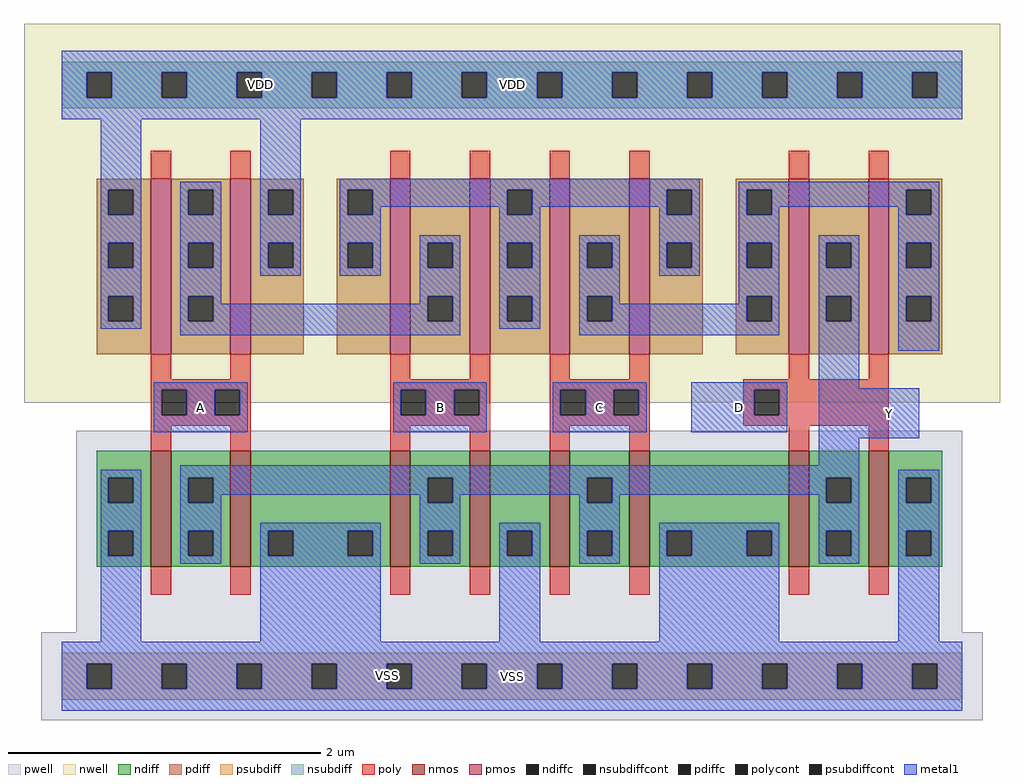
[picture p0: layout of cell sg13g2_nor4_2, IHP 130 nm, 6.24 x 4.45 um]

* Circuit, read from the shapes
.subckt sg13g2_nor4_2 Y VSS D VDD B A C
XM1 Y A VSS VSS sg13_lv_nmos w=0.74u l=0.13u m=2
XM2 Y B VSS VSS sg13_lv_nmos w=0.74u l=0.13u m=2
XM3 Y C VSS VSS sg13_lv_nmos w=0.74u l=0.13u m=2
XM4 Y D VSS VSS sg13_lv_nmos w=0.74u l=0.13u m=2
XM5 n1 A VDD VDD sg13_lv_pmos w=1.12u l=0.13u m=2
XM6 n1 B n2 VDD sg13_lv_pmos w=1.12u l=0.13u m=2
XM7 n3 C n2 VDD sg13_lv_pmos w=1.12u l=0.13u m=2
XM8 Y D n3 VDD sg13_lv_pmos w=1.12u l=0.13u m=2
.ends

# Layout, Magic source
magic
tech ihp-sg13g2
magscale 1 2
<< nwell >>
rect -48 350 1200 834
<< pwell >>
rect 19 56 1152 314
rect -26 -56 1178 56
<< nmos >>
rect 114 140 140 288
rect 216 140 242 288
rect 420 140 446 288
rect 522 140 548 288
rect 624 140 650 288
rect 726 140 752 288
rect 930 140 956 288
rect 1032 140 1058 288
<< pmos >>
rect 114 412 140 636
rect 216 412 242 636
rect 420 412 446 636
rect 522 412 548 636
rect 624 412 650 636
rect 726 412 752 636
rect 930 412 956 636
rect 1032 412 1058 636
<< ndiff >>
rect 45 254 114 288
rect 45 222 60 254
rect 92 222 114 254
rect 45 186 114 222
rect 45 154 60 186
rect 92 154 114 186
rect 45 140 114 154
rect 140 254 216 288
rect 140 222 162 254
rect 194 222 216 254
rect 140 186 216 222
rect 140 154 162 186
rect 194 154 216 186
rect 140 140 216 154
rect 242 186 420 288
rect 242 154 264 186
rect 296 154 366 186
rect 398 154 420 186
rect 242 140 420 154
rect 446 254 522 288
rect 446 222 468 254
rect 500 222 522 254
rect 446 186 522 222
rect 446 154 468 186
rect 500 154 522 186
rect 446 140 522 154
rect 548 186 624 288
rect 548 154 570 186
rect 602 154 624 186
rect 548 140 624 154
rect 650 254 726 288
rect 650 222 672 254
rect 704 222 726 254
rect 650 186 726 222
rect 650 154 672 186
rect 704 154 726 186
rect 650 140 726 154
rect 752 186 930 288
rect 752 154 774 186
rect 806 154 876 186
rect 908 154 930 186
rect 752 140 930 154
rect 956 254 1032 288
rect 956 222 978 254
rect 1010 222 1032 254
rect 956 186 1032 222
rect 956 154 978 186
rect 1010 154 1032 186
rect 956 140 1032 154
rect 1058 254 1126 288
rect 1058 222 1080 254
rect 1112 222 1126 254
rect 1058 186 1126 222
rect 1058 154 1080 186
rect 1112 154 1126 186
rect 1058 140 1126 154
<< pdiff >>
rect 45 622 114 636
rect 45 590 60 622
rect 92 590 114 622
rect 45 554 114 590
rect 45 522 60 554
rect 92 522 114 554
rect 45 486 114 522
rect 45 454 60 486
rect 92 454 114 486
rect 45 412 114 454
rect 140 622 216 636
rect 140 590 162 622
rect 194 590 216 622
rect 140 554 216 590
rect 140 522 162 554
rect 194 522 216 554
rect 140 486 216 522
rect 140 454 162 486
rect 194 454 216 486
rect 140 412 216 454
rect 242 622 310 636
rect 242 590 264 622
rect 296 590 310 622
rect 242 554 310 590
rect 242 522 264 554
rect 296 522 310 554
rect 242 412 310 522
rect 352 622 420 636
rect 352 590 366 622
rect 398 590 420 622
rect 352 554 420 590
rect 352 522 366 554
rect 398 522 420 554
rect 352 412 420 522
rect 446 554 522 636
rect 446 522 468 554
rect 500 522 522 554
rect 446 486 522 522
rect 446 454 468 486
rect 500 454 522 486
rect 446 412 522 454
rect 548 622 624 636
rect 548 590 570 622
rect 602 590 624 622
rect 548 554 624 590
rect 548 522 570 554
rect 602 522 624 554
rect 548 486 624 522
rect 548 454 570 486
rect 602 454 624 486
rect 548 412 624 454
rect 650 554 726 636
rect 650 522 672 554
rect 704 522 726 554
rect 650 486 726 522
rect 650 454 672 486
rect 704 454 726 486
rect 650 412 726 454
rect 752 622 820 636
rect 752 590 774 622
rect 806 590 820 622
rect 752 554 820 590
rect 752 522 774 554
rect 806 522 820 554
rect 752 412 820 522
rect 862 622 930 636
rect 862 590 876 622
rect 908 590 930 622
rect 862 554 930 590
rect 862 522 876 554
rect 908 522 930 554
rect 862 486 930 522
rect 862 454 876 486
rect 908 454 930 486
rect 862 412 930 454
rect 956 554 1032 636
rect 956 522 978 554
rect 1010 522 1032 554
rect 956 486 1032 522
rect 956 454 978 486
rect 1010 454 1032 486
rect 956 412 1032 454
rect 1058 622 1126 636
rect 1058 590 1080 622
rect 1112 590 1126 622
rect 1058 554 1126 590
rect 1058 522 1080 554
rect 1112 522 1126 554
rect 1058 486 1126 522
rect 1058 454 1080 486
rect 1112 454 1126 486
rect 1058 412 1126 454
<< ndiffc >>
rect 60 222 92 254
rect 60 154 92 186
rect 162 222 194 254
rect 162 154 194 186
rect 264 154 296 186
rect 366 154 398 186
rect 468 222 500 254
rect 468 154 500 186
rect 570 154 602 186
rect 672 222 704 254
rect 672 154 704 186
rect 774 154 806 186
rect 876 154 908 186
rect 978 222 1010 254
rect 978 154 1010 186
rect 1080 222 1112 254
rect 1080 154 1112 186
<< pdiffc >>
rect 60 590 92 622
rect 60 522 92 554
rect 60 454 92 486
rect 162 590 194 622
rect 162 522 194 554
rect 162 454 194 486
rect 264 590 296 622
rect 264 522 296 554
rect 366 590 398 622
rect 366 522 398 554
rect 468 522 500 554
rect 468 454 500 486
rect 570 590 602 622
rect 570 522 602 554
rect 570 454 602 486
rect 672 522 704 554
rect 672 454 704 486
rect 774 590 806 622
rect 774 522 806 554
rect 876 590 908 622
rect 876 522 908 554
rect 876 454 908 486
rect 978 522 1010 554
rect 978 454 1010 486
rect 1080 590 1112 622
rect 1080 522 1112 554
rect 1080 454 1112 486
<< psubdiff >>
rect 0 16 1152 30
rect 0 -16 32 16
rect 64 -16 128 16
rect 160 -16 224 16
rect 256 -16 320 16
rect 352 -16 416 16
rect 448 -16 512 16
rect 544 -16 608 16
rect 640 -16 704 16
rect 736 -16 800 16
rect 832 -16 896 16
rect 928 -16 992 16
rect 1024 -16 1088 16
rect 1120 -16 1152 16
rect 0 -30 1152 -16
<< nsubdiff >>
rect 0 772 1152 786
rect 0 740 32 772
rect 64 740 128 772
rect 160 740 224 772
rect 256 740 320 772
rect 352 740 416 772
rect 448 740 512 772
rect 544 740 608 772
rect 640 740 704 772
rect 736 740 800 772
rect 832 740 896 772
rect 928 740 992 772
rect 1024 740 1088 772
rect 1120 740 1152 772
rect 0 726 1152 740
<< psubdiffcont >>
rect 32 -16 64 16
rect 128 -16 160 16
rect 224 -16 256 16
rect 320 -16 352 16
rect 416 -16 448 16
rect 512 -16 544 16
rect 608 -16 640 16
rect 704 -16 736 16
rect 800 -16 832 16
rect 896 -16 928 16
rect 992 -16 1024 16
rect 1088 -16 1120 16
<< nsubdiffcont >>
rect 32 740 64 772
rect 128 740 160 772
rect 224 740 256 772
rect 320 740 352 772
rect 416 740 448 772
rect 512 740 544 772
rect 608 740 640 772
rect 704 740 736 772
rect 800 740 832 772
rect 896 740 928 772
rect 992 740 1024 772
rect 1088 740 1120 772
<< poly >>
rect 114 636 140 672
rect 216 636 242 672
rect 420 636 446 672
rect 522 636 548 672
rect 624 636 650 672
rect 726 636 752 672
rect 930 636 956 672
rect 1032 636 1058 672
rect 114 380 140 412
rect 216 380 242 412
rect 114 366 242 380
rect 114 334 128 366
rect 160 334 196 366
rect 228 334 242 366
rect 114 320 242 334
rect 114 288 140 320
rect 216 288 242 320
rect 420 380 446 412
rect 522 380 548 412
rect 420 366 548 380
rect 420 334 434 366
rect 466 334 502 366
rect 534 334 548 366
rect 420 320 548 334
rect 420 288 446 320
rect 522 288 548 320
rect 624 380 650 412
rect 726 380 752 412
rect 930 380 956 412
rect 1032 380 1058 412
rect 624 366 752 380
rect 624 334 638 366
rect 670 334 706 366
rect 738 334 752 366
rect 624 320 752 334
rect 872 366 1058 380
rect 872 334 886 366
rect 918 334 1058 366
rect 872 320 1058 334
rect 624 288 650 320
rect 726 288 752 320
rect 930 288 956 320
rect 1032 288 1058 320
rect 114 104 140 140
rect 216 104 242 140
rect 420 104 446 140
rect 522 104 548 140
rect 624 104 650 140
rect 726 104 752 140
rect 930 104 956 140
rect 1032 104 1058 140
<< polycont >>
rect 128 334 160 366
rect 196 334 228 366
rect 434 334 466 366
rect 502 334 534 366
rect 638 334 670 366
rect 706 334 738 366
rect 886 334 918 366
<< metal1 >>
rect 0 772 1152 800
rect 0 740 32 772
rect 64 740 128 772
rect 160 740 224 772
rect 256 740 320 772
rect 352 740 416 772
rect 448 740 512 772
rect 544 740 608 772
rect 640 740 704 772
rect 736 740 800 772
rect 832 740 896 772
rect 928 740 992 772
rect 1024 740 1088 772
rect 1120 740 1152 772
rect 0 712 1152 740
rect 50 622 102 712
rect 50 590 60 622
rect 92 590 102 622
rect 50 554 102 590
rect 50 522 60 554
rect 92 522 102 554
rect 50 486 102 522
rect 50 454 60 486
rect 92 454 102 486
rect 50 444 102 454
rect 152 622 204 632
rect 152 590 162 622
rect 194 590 204 622
rect 152 554 204 590
rect 152 522 162 554
rect 194 522 204 554
rect 152 486 204 522
rect 254 622 306 712
rect 254 590 264 622
rect 296 590 306 622
rect 254 554 306 590
rect 254 522 264 554
rect 296 522 306 554
rect 254 512 306 522
rect 356 622 816 636
rect 356 590 366 622
rect 398 600 570 622
rect 398 590 408 600
rect 356 554 408 590
rect 560 590 570 600
rect 602 600 774 622
rect 602 590 612 600
rect 356 522 366 554
rect 398 522 408 554
rect 356 512 408 522
rect 458 554 510 564
rect 458 522 468 554
rect 500 522 510 554
rect 152 454 162 486
rect 194 476 204 486
rect 458 486 510 522
rect 458 476 468 486
rect 194 454 468 476
rect 500 454 510 486
rect 152 436 510 454
rect 560 554 612 590
rect 764 590 774 600
rect 806 590 816 622
rect 560 522 570 554
rect 602 522 612 554
rect 560 486 612 522
rect 560 454 570 486
rect 602 454 612 486
rect 560 444 612 454
rect 662 554 714 564
rect 662 522 672 554
rect 704 522 714 554
rect 662 486 714 522
rect 764 554 816 590
rect 764 522 774 554
rect 806 522 816 554
rect 764 512 816 522
rect 866 622 1122 632
rect 866 590 876 622
rect 908 600 1080 622
rect 908 590 918 600
rect 866 554 918 590
rect 1070 590 1080 600
rect 1112 590 1122 622
rect 866 522 876 554
rect 908 522 918 554
rect 662 454 672 486
rect 704 476 714 486
rect 866 486 918 522
rect 866 476 876 486
rect 704 454 876 476
rect 908 454 918 486
rect 662 436 918 454
rect 968 554 1020 564
rect 968 522 978 554
rect 1010 522 1020 554
rect 968 486 1020 522
rect 968 454 978 486
rect 1010 454 1020 486
rect 118 366 238 376
rect 118 334 128 366
rect 160 334 196 366
rect 228 334 238 366
rect 118 312 238 334
rect 424 366 544 376
rect 424 334 434 366
rect 466 334 502 366
rect 534 334 544 366
rect 424 312 544 334
rect 628 366 748 376
rect 628 334 638 366
rect 670 334 706 366
rect 738 334 748 366
rect 628 312 748 334
rect 805 366 928 376
rect 805 334 886 366
rect 918 334 928 366
rect 805 312 928 334
rect 968 368 1020 454
rect 1070 554 1122 590
rect 1070 522 1080 554
rect 1112 522 1122 554
rect 1070 486 1122 522
rect 1070 454 1080 486
rect 1112 454 1122 486
rect 1070 416 1122 454
rect 968 304 1097 368
rect 968 270 1020 304
rect 50 254 102 264
rect 50 222 60 254
rect 92 222 102 254
rect 50 186 102 222
rect 50 154 60 186
rect 92 154 102 186
rect 50 44 102 154
rect 152 254 1020 270
rect 152 222 162 254
rect 194 232 468 254
rect 194 222 204 232
rect 152 186 204 222
rect 458 222 468 232
rect 500 232 672 254
rect 500 222 510 232
rect 152 154 162 186
rect 194 154 204 186
rect 152 144 204 154
rect 254 186 408 196
rect 254 154 264 186
rect 296 154 366 186
rect 398 154 408 186
rect 254 44 408 154
rect 458 186 510 222
rect 662 222 672 232
rect 704 232 978 254
rect 704 222 714 232
rect 458 154 468 186
rect 500 154 510 186
rect 458 144 510 154
rect 560 186 612 196
rect 560 154 570 186
rect 602 154 612 186
rect 560 44 612 154
rect 662 186 714 222
rect 968 222 978 232
rect 1010 222 1020 254
rect 662 154 672 186
rect 704 154 714 186
rect 662 144 714 154
rect 764 186 918 196
rect 764 154 774 186
rect 806 154 876 186
rect 908 154 918 186
rect 764 44 918 154
rect 968 186 1020 222
rect 968 154 978 186
rect 1010 154 1020 186
rect 968 144 1020 154
rect 1070 254 1122 264
rect 1070 222 1080 254
rect 1112 222 1122 254
rect 1070 186 1122 222
rect 1070 154 1080 186
rect 1112 154 1122 186
rect 1070 44 1122 154
rect 0 16 1152 44
rect 0 -16 32 16
rect 64 -16 128 16
rect 160 -16 224 16
rect 256 -16 320 16
rect 352 -16 416 16
rect 448 -16 512 16
rect 544 -16 608 16
rect 640 -16 704 16
rect 736 -16 800 16
rect 832 -16 896 16
rect 928 -16 992 16
rect 1024 -16 1088 16
rect 1120 -16 1152 16
rect 0 -44 1152 -16
<< labels >>
flabel metal1 s 1020 304 1097 368 0 FreeSans 500 0 0 0 Y
port 2 nsew
flabel metal1 s 0 -44 1152 44 0 FreeSans 400 0 0 0 VSS
port 3 nsew
flabel metal1 s 805 312 928 376 0 FreeSans 500 0 0 0 D
port 4 nsew
flabel metal1 s 0 712 1152 800 0 FreeSans 500 0 0 0 VDD
port 5 nsew
flabel metal1 s 424 312 544 376 0 FreeSans 500 0 0 0 B
port 6 nsew
flabel metal1 s 118 312 238 376 0 FreeSans 500 0 0 0 A
port 7 nsew
flabel metal1 s 255 756 255 756 0 FreeSans 400 0 0 0 VDD
flabel metal1 s 417 1 417 1 0 FreeSans 500 0 0 0 VSS
flabel metal1 s 628 312 748 376 0 FreeSans 500 0 0 0 C
port 8 nsew
<< properties >>
string FIXED_BBOX 0 0 1152 756
string GDS_END 182242
string GDS_FILE 6_final.gds
string GDS_START 174016
<< end >>
